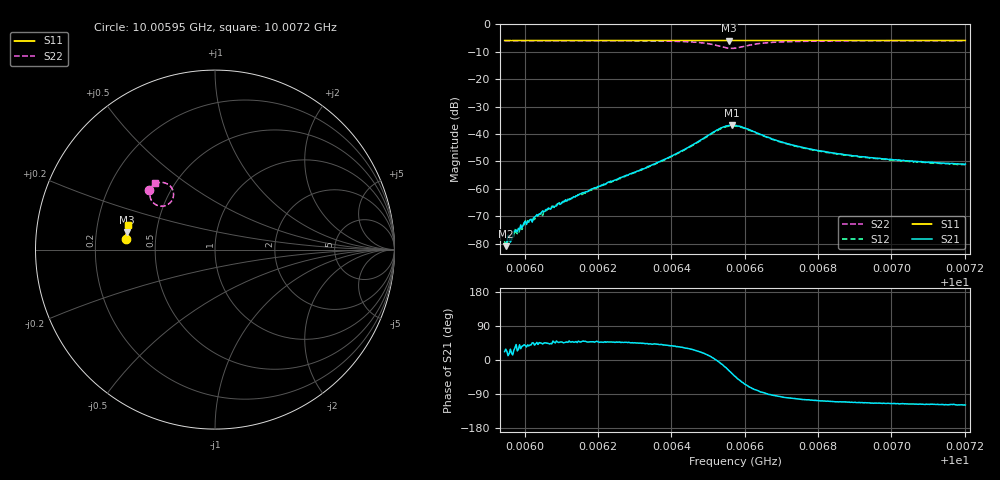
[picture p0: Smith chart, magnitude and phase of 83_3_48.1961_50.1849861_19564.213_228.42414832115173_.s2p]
#  HZ  S  RI  R  50.00
! Rohde & Schwarz Vector Network Analyzer
! Rohde-Schwarz,ZNB20-2Port,1311601062101988,3.16
! Created: UTC 3/20/2024, 11:39:47 AM
! freq[Hz]  re:S11  im:S11  re:S21  im:S21  re:S12  im:S12  re:S22  im:S22
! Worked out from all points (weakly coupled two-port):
!   401 points, 10.00595 GHz to 10.0072 GHz, reference 50 ohm
!   highest |S21| = -36.79 dB at 10.00656 GHz (marker M1); lowest = -80.8 dB at 10.00595 GHz (marker M2)
!   lowest |S11| = -6.0 dB at 10.00656 GHz (marker M3), VSWR 3.01, Z = 16.8 + j4.39 ohm
!   |S11| at or under -10 dB: nowhere
!   |S22| runs from -8.8 to -6.0 dB; largest |S21 - S12| = 0.0011
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1.0005945e10  -0.4981 0.0588  9.26e-05 3.77e-05  0.00011 2.2e-05  -0.3694 0.3344
1.0005948e10  -0.498 0.0592  7.98e-05 4.33e-05  8.16e-05 4.07e-05  -0.3692 0.3346
1.0005961e10  -0.4979 0.0598  9.46e-05 5.13e-05  0.000131 4.98e-05  -0.3684 0.3354
1.0005967e10  -0.4979 0.0604  0.000132 3.15e-05  0.000105 5.55e-05  -0.3681 0.3359
1.0005977e10  -0.4977 0.0611  0.000135 0.000116  0.000126 0.000101  -0.3677 0.3366
1.0005986e10  -0.4977 0.0615  0.000137 0.000115  0.000141 0.000105  -0.367 0.3372
1.0006005e10  -0.4976 0.0629  0.000186 0.000127  0.000177 0.000155  -0.366 0.3384
1.0006021e10  -0.4976 0.0638  0.000175 0.000178  0.000192 0.000193  -0.3648 0.3395
1.0006052e10  -0.4974 0.0659  0.000278 0.000272  0.000257 0.000297  -0.3628 0.3417
1.000609e10  -0.4971 0.0683  0.000363 0.000395  0.000351 0.000404  -0.3602 0.3444
1.0006156e10  -0.4967 0.0727  0.000552 0.000625  0.000511 0.000603  -0.355 0.3496
1.0006366e10  -0.4946 0.0864  0.00236 0.00203  0.00219 0.00207  -0.3259 0.3688
1.0006489e10  -0.4929 0.0944  0.00803 0.00256  0.00769 0.00287  -0.2658 0.3661
1.000653e10  -0.4921 0.0966  0.0123 -0.00107  0.012 -0.000398  -0.2329 0.3243
1.0006558e10  -0.4915 0.098  0.0125 -0.00685  0.0125 -0.00612  -0.2421 0.2705
1.0006564e10  -0.4915 0.0982  0.0119 -0.00822  0.012 -0.00716  -0.2507 0.2601
1.0006574e10  -0.4916 0.0986  0.0105 -0.00979  0.0106 -0.00894  -0.2667 0.2486
1.0006643e10  -0.4917 0.1028  0.000965 -0.00979  0.00143 -0.00959  -0.3531 0.2725
1.0006712e10  -0.4913 0.1074  -0.00107 -0.00671  -0.000725 -0.00664  -0.3634 0.3095
1.0006784e10  -0.4904 0.1122  -0.00144 -0.00503  -0.00119 -0.005  -0.36 0.3297
1.0006995e10  -0.4876 0.1256  -0.00144 -0.00314  -0.00125 -0.00313  -0.3459 0.3573
1.0007202e10  -0.4845 0.1386  -0.00137 -0.00248  -0.0012 -0.00245  -0.3335 0.3724
